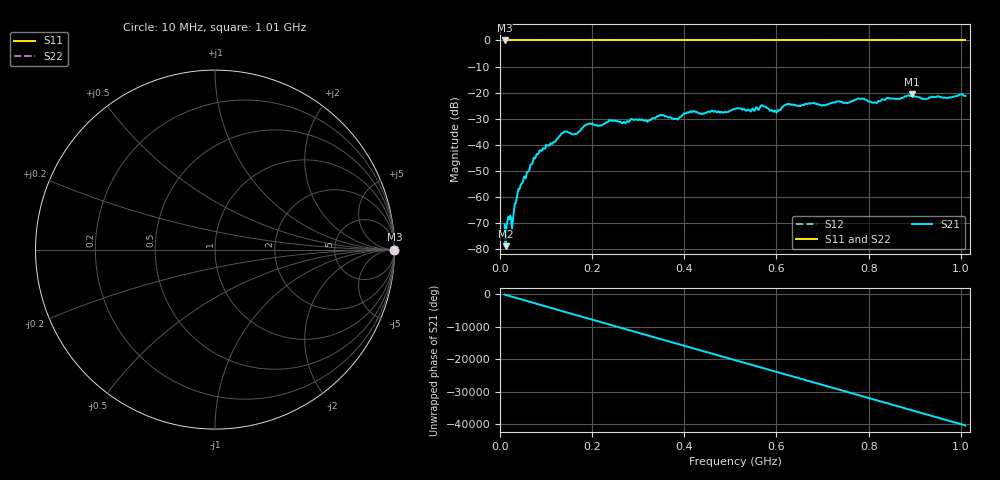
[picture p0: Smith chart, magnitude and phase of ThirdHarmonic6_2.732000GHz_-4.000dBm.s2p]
! 8/17/2025 6:43:26 AM
! C:\ANRITSUVNA\TEMP\TEMP.S2P
! CHANNEL.1
! TR.MEASUREMENT
! RAW.DATA
! RF.CORRECTION.OFF
! AVERAGING.OFF
! IF.BANDWIDTH: 5KHZ
! SWEEPTYPE:  FREQ.SWEEP(Linear)
! Reference Plane Port Info
! PORT:  PORT1  PORT2
! DISTANCE:  0  m  0  m
! TIME:  0  s  0  s
! PHASE.OFFSET:  0  deg.  0  deg.
! LOSS:  0  dB  0  dB
! REF.LOSS:  0  dB  0  dB
! REF.FREQ:  0  Hz  0  Hz
! Power Info
! POWER:  -20  dBm  -20  dBm
! EFF.POWER:  -20  dBm  -20  dBm
! SOURCE.ATTEN:  0  dB  0  dB
! TEST.ATTEN:  0  dB  0  dB
# GHZ S RI R 50.0
! FREQ.GHZ  S11RE  S11IM  S21RE  S21IM  S12RE  S12IM  S22RE  S22IM
!; PortSelection: Port_12
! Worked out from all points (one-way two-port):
!   501 points, 10 MHz to 1.01 GHz, reference 50 ohm
!   highest |S21| = -20.48 dB at 894 MHz (marker M1); lowest = -78.9 dB at 12 MHz (marker M2)
!   lowest |S11| = 0.0 dB at 10 MHz (marker M3)
!   |S11| at or under -10 dB: nowhere
!   |S22| runs from 0.0 to 0.0 dB; largest |S21 - S12| = 1.1
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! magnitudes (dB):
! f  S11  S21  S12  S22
! 10 MHz  0.0  -70.4  0.0  0.0
! 12 MHz  0.0  -78.9  0.0  0.0
! 20 MHz  0.0  -68.6  0.0  0.0
! 28 MHz  0.0  -69.0  0.0  0.0
! 42 MHz  0.0  -57.1  0.0  0.0
! 82 MHz  0.0  -43.5  0.0  0.0
! 136 MHz  0.0  -35.5  0.0  0.0
! 164 MHz  0.0  -35.9  0.0  0.0
! 178 MHz  0.0  -33.8  0.0  0.0
! 344 MHz  0.0  -29.1  0.0  0.0
! 384 MHz  0.0  -30.2  0.0  0.0
! 416 MHz  0.0  -27.4  0.0  0.0
! 510 MHz  0.0  -26.2  0.0  0.0
! 570 MHz  0.0  -25.0  0.0  0.0
! 598 MHz  0.0  -27.1  0.0  0.0
! 622 MHz  0.0  -24.6  0.0  0.0
! 678 MHz  0.0  -24.1  0.0  0.0
! 782 MHz  0.0  -22.4  0.0  0.0
! 814 MHz  0.0  -23.7  0.0  0.0
! 844 MHz  0.0  -22.2  0.0  0.0
! 894 MHz  0.0  -20.5  0.0  0.0
! 1.01 GHz  0.0  -21.3  0.0  0.0
